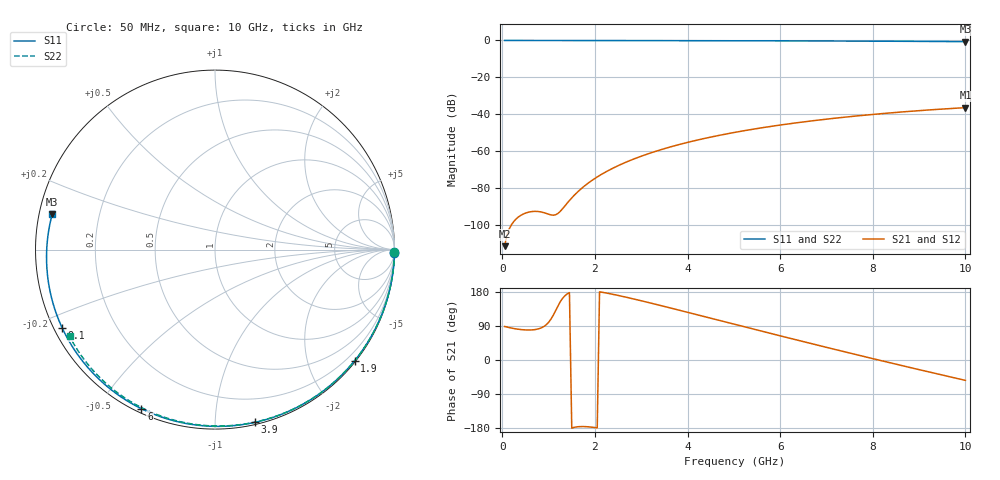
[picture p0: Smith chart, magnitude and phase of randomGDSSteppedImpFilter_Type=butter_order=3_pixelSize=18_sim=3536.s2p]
! freq	dB(S11)	phase(S11)	dB(S12)	phase(S12)
!  dB(S21)	phase(S21)	dB(S22)	phase(S22)
!S-par simulation data
#  GHz  S  DB  R 50
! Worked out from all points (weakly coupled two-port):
!   200 points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, 50 MHz to 10 GHz, reference 50 ohm
!   highest |S21| = -36.33 dB at 10 GHz (marker M1); lowest = -111.2 dB at 50 MHz (marker M2)
!   lowest |S11| = -0.6 dB at 10 GHz (marker M3), VSWR 26.86, Z = 1.88 + j5.38 ohm
!   |S11| at or under -10 dB: nowhere
!   |S22| runs from -0.5 to 0.0 dB; largest |S21 - S12| = 0
!   S11 on the Smith chart (normalised r, x): 50 MHz: open; 1.9 GHz: 0.03, -2.86; 3.9 GHz: 0.02, -1.26; 6 GHz: 0.02, -0.64; 8.1 GHz: 0.02, -0.24; 10 GHz: 0.04, +0.11
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0.05  -0.00 -1.0  -111.20 88.4  -111.20 88.4  -0.00 -0.9
0.45  -0.01 -9.3  -93.86 79.8  -93.86 79.8  -0.01 -7.7
0.85  -0.02 -17.5  -92.78 85.2  -92.78 85.2  -0.02 -14.5
1.7  -0.04 -34.6  -80.22 -175.6  -80.22 -175.6  -0.04 -28.8
1.75  -0.05 -35.6  -79.16 -175.6  -79.16 -175.6  -0.04 -29.6
1.9  -0.05 -38.6  -76.28 -176.8  -76.28 -176.8  -0.04 -32.1
2.2  -0.06 -44.5  -71.54 177.8  -71.54 177.8  -0.05 -37.0
2.55  -0.07 -51.3  -67.13 169.1  -67.13 169.1  -0.05 -42.7
2.95  -0.08 -59.0  -63.03 157.8  -63.03 157.8  -0.06 -49.2
3.4  -0.09 -67.6  -59.24 144.4  -59.24 144.4  -0.07 -56.3
3.9  -0.11 -76.9  -55.73 129.0  -55.73 129.0  -0.09 -64.1
4.45  -0.13 -87.0  -52.51 111.9  -52.51 111.9  -0.10 -72.4
5.05  -0.15 -97.9  -49.55 93.2  -49.55 93.2  -0.13 -81.3
5.5  -0.18 -105.9  -47.62 79.2  -47.62 79.2  -0.14 -87.8
6  -0.20 -114.8  -45.72 63.8  -45.72 63.8  -0.17 -95.0
6.7  -0.25 -127.3  -43.42 42.5  -43.42 42.5  -0.20 -104.7
7.45  -0.32 -140.8  -41.32 19.9  -41.32 19.9  -0.25 -115.0
8.1  -0.38 -152.9  -39.76 0.7  -39.76 0.7  -0.31 -123.7
8.35  -0.41 -157.7  -39.22 -6.6  -39.22 -6.6  -0.33 -127.1
9.2  -0.52 -174.7  -37.58 -31.2  -37.58 -31.2  -0.41 -138.4
9.6  -0.58 176.7  -36.92 -42.5  -36.92 -42.5  -0.46 -143.8
10  -0.65 167.7  -36.33 -53.7  -36.33 -53.7  -0.51 -149.2
